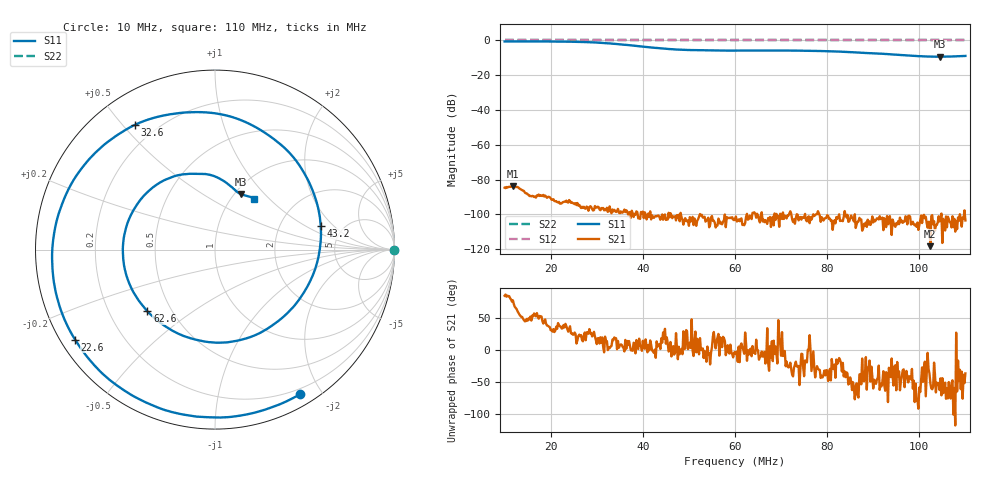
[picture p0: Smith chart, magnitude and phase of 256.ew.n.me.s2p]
! Anritsu VNA Master:  Model: MS2036C/10/77
! SN:  1601066
! /card0/usr/256.ew.n.me.s2p
! Existing Calibration Information:
! TYPE:  Current Settings,  Active Cal Settings
! TIME:  12/19/2017 03:04:41 PM,  12/19/2017 02:53:44 PM
! INTERNAL TEMP:  46.8 C,  46.3 C
! # POINTS:  501,  501
! START FREQ:  10.000 MHz,  10.000 MHz
! STOP FREQ:  110.000 MHz,  110.000 MHz
! SOURCE POWER:  High,  High
! IFBW:  100 Hz,  100 Hz
! AVG FACTOR:  1 ,  1
! REF PLANE 1:  0 mm,  0 mm
! REF PLANE 2:  0 mm,  0 mm
! CAL TYPE:  Full S11,  Full S11
! CAL METHOD:  SOLT,  SOLT
! CAL LINE TYPE:  Coax,  Coax
! DUT PORT 1:  N-Conn(F),  N-Conn(F)
! DUT PORT 2:  K-Conn(F),  K-Conn(F)
! CAL STATUS:  OK: Accuracy High,  --
# GHZ S DB R 50.0
! FREQ.GHZ  S11DB  S11A  S21DB  S21A  S12DB  S12A  S22DB  S22A
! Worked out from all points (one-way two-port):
!   501 points, 10 MHz to 110 MHz, reference 50 ohm
!   highest |S21| = -83.61 dB at 11.8 MHz (marker M1); lowest = -118.2 dB at 102.4 MHz (marker M2)
!   lowest |S11| = -9.4 dB at 104.4 MHz (marker M3), VSWR 2.03, Z = 53.2 + j37.2 ohm
!   |S11| at or under -10 dB: nowhere
!   |S22| runs from 0.0 to 0.0 dB; largest |S21 - S12| = 1
!   S11 on the Smith chart (normalised r, x): 10 MHz: 0.14, -1.73; 22.6 MHz: 0.04, -0.29; 32.6 MHz: 0.12, +0.54; 43.2 MHz: 3.42, +1.41; 62.6 MHz: 0.37, -0.34; 110 MHz: 1.26, +0.82
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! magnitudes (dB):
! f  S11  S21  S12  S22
! 10 MHz  -0.6  -84.6  0.0  0.0
! 11.8 MHz  -0.6  -83.6  0.0  0.0
! 22.6 MHz  -0.7  -93.0  0.0  0.0
! 26.8 MHz  -0.9  -95.6  0.0  0.0
! 29.6 MHz  -1.2  -95.2  0.0  0.0
! 32.6 MHz  -1.7  -97.9  0.0  0.0
! 36.4 MHz  -2.5  -97.6  0.0  0.0
! 43.2 MHz  -4.4  -100.7  0.0  0.0
! 43.4 MHz  -4.4  -100.6  0.0  0.0
! 47 MHz  -5.2  -101.1  0.0  0.0
! 49.6 MHz  -5.5  -103.9  0.0  0.0
! 60 MHz  -5.9  -102.8  0.0  0.0
! 62.6 MHz  -5.8  -99.7  0.0  0.0
! 70.8 MHz  -5.8  -100.7  0.0  0.0
! 76.8 MHz  -6.0  -101.5  0.0  0.0
! 82.4 MHz  -6.4  -101.7  0.0  0.0
! 93.4 MHz  -7.9  -104.9  0.0  0.0
! 98 MHz  -8.8  -101.3  0.0  0.0
! 102.4 MHz  -9.3  -118.2  0.0  0.0
! 104.4 MHz  -9.4  -104.0  0.0  0.0
! 106.6 MHz  -9.3  -104.3  0.0  0.0
! 110 MHz  -8.9  -103.5  0.0  0.0
